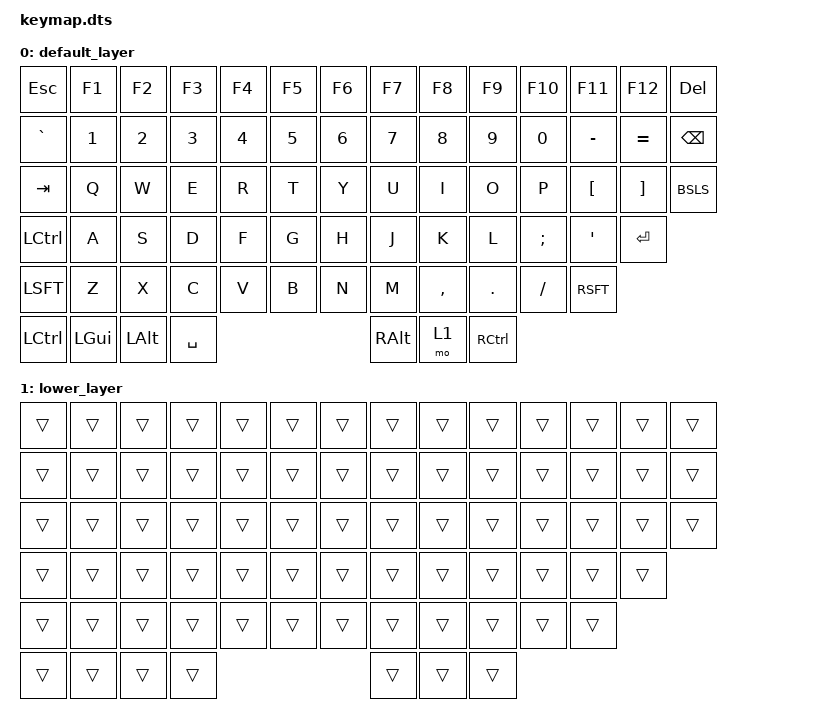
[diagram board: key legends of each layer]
// config/keymap/keymap.dts

#include <behaviors.dtsi>
#include <dt-bindings/zmk/keys.h>
#include <dt-bindings/zmk/matrix_transform.h>

/ {
    keymap {
        compatible = "zmk,keymap";
        label = "Default Keymap";

        default_layer {
            bindings = <
                /* Fila 0 */
                &kp ESC   &kp F1    &kp F2    &kp F3    &kp F4    &kp F5    &kp F6    &kp F7    &kp F8    &kp F9    &kp F10   &kp F11   &kp F12   &kp DEL
                /* Fila 1 */
                &kp GRAVE &kp 1     &kp 2     &kp 3     &kp 4     &kp 5     &kp 6     &kp 7     &kp 8     &kp 9     &kp 0     &kp MINUS &kp EQUAL &kp BSPC
                /* Fila 2 */
                &kp TAB   &kp Q     &kp W     &kp E     &kp R     &kp T     &kp Y     &kp U     &kp I     &kp O     &kp P     &kp LBKT  &kp RBKT  &kp BSLS
                /* Fila 3 */
                &kp LCTL  &kp A     &kp S     &kp D     &kp F     &kp G     &kp H     &kp J     &kp K     &kp L     &kp SEMI  &kp SQT   &kp RET
                /* Fila 4 */
                &kp LSFT  &kp Z     &kp X     &kp C     &kp V     &kp B     &kp N     &kp M     &kp COMMA &kp DOT   &kp FSLH  &kp RSFT
                /* Fila 5 */
                &kp LCTRL &kp LGUI  &kp LALT  &kp SPACE                               &kp RALT  &mo 1     &kp RCTRL
            >;
        };

        lower_layer {
            bindings = <
                /* Capas secundarias - puedes ajustar después */
                &trans &trans &trans &trans &trans &trans &trans &trans &trans &trans &trans &trans &trans &trans
                &trans &trans &trans &trans &trans &trans &trans &trans &trans &trans &trans &trans &trans &trans
                &trans &trans &trans &trans &trans &trans &trans &trans &trans &trans &trans &trans &trans &trans
                &trans &trans &trans &trans &trans &trans &trans &trans &trans &trans &trans &trans &trans
                &trans &trans &trans &trans &trans &trans &trans &trans &trans &trans &trans &trans
                &trans &trans &trans &trans                     &trans &trans &trans
            >;
        };
    };
};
